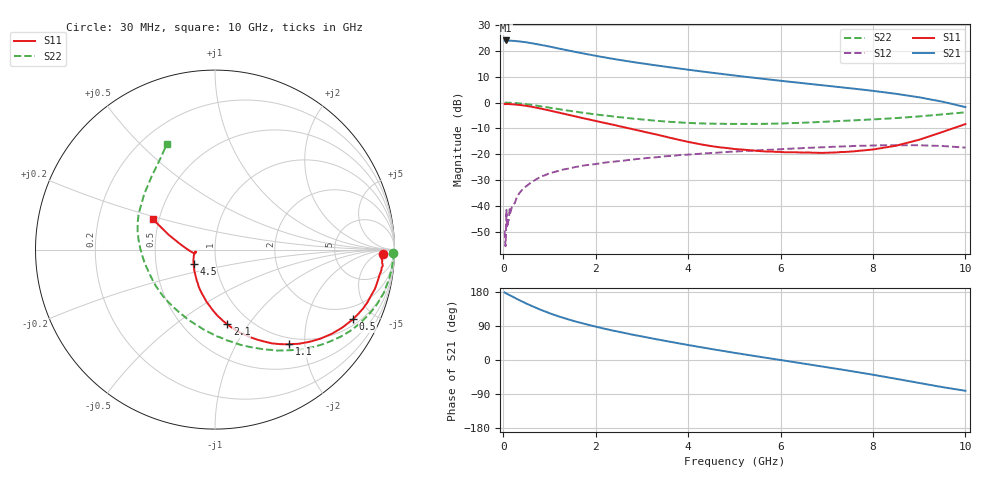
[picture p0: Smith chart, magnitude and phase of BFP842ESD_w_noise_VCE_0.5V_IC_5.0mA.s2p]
! Infineon Technologies  Discrete & RF Semiconductors
! BFP842ESD
! VCE =  0.5 V,  IC =  5.0 mA
! Common Emitter S-Parameters:  May 2012
# GHz  S  MA  R  50
!  f  S11  S21  S12  S22
! GHz  MAG  ANG  MAG  ANG  MAG  ANG  MAG  ANG
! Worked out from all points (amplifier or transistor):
!   99 points, 30 MHz to 10 GHz, reference 50 ohm
!   highest |S21| = 23.9 dB at 60 MHz (marker M1)
!   |S21| within 3 dB of that: start of sweep to 1.173 GHz
!   unconditionally stable (mu >= 1): 3.212 GHz to end of sweep
!   at 350 MHz: K = 0.16, MSG = 29.3 dB, |S12| = -34.9 dB
!   at 3.5 GHz: K = 1.04, MAG = 16.0 dB, |S12| = -20.7 dB
!   at 10 GHz: K = 2.17, MAG = 1.7 dB, |S12| = -17.4 dB
!   lowest NFmin = 0.41 dB at 450 MHz
!   S11 on the Smith chart (normalised r, x): 30 MHz: 26, -11; 500 MHz: 1.27, -3.80; 1.1 GHz: 0.88, -1.70; 2.1 GHz: 0.79, -0.80; 4.5 GHz: 0.78, -0.13; 10 GHz: 0.46, +0.18
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0.03  0.9362 -1.6  15.57 178.2  0.0034 127.4  0.9929 -1.2
0.05  0.9276 -2.7  15.48 176.4  0.0017 114.1  0.9879 -2.4
0.06  0.931 -3.4  15.72 175.9  0.003 68.9  0.9963 -2.7
0.07  0.9343 -3.6  15.57 175.5  0.0085 82.9  0.9959 -3.5
0.08  0.9333 -4.4  15.61 174.6  0.0038 68.9  0.9894 -3.6
0.14  0.9317 -7.9  15.53 171.1  0.0088 88.9  0.9886 -6.7
0.25  0.9174 -13.8  15.41 164.1  0.0115 84.1  0.9768 -11.8
0.4  0.8878 -21.7  14.86 154.8  0.0203 73.2  0.9522 -18.7
0.5  0.861 -26.8  14.5 149.0  0.0244 71.0  0.9286 -23.1
0.6  0.8317 -31.5  13.97 143.5  0.0287 67.8  0.9048 -27.2
0.8  0.7672 -40.4  13 133.0  0.0367 61.8  0.8512 -34.8
1.1  0.6705 -51.9  11.49 119.3  0.0456 54.2  0.7706 -44.8
1.4  0.5822 -61.7  10.12 107.5  0.053 48.3  0.6991 -53.3
1.7  0.5048 -70.4  8.939 97.3  0.0601 44.1  0.6393 -60.9
2.1  0.4208 -80.7  7.668 85.1  0.0672 38.3  0.5746 -70.6
2.7  0.3205 -94.6  6.24 69.4  0.0777 32.5  0.501 -84.2
3.4  0.2318 -112.1  5.067 52.9  0.0896 25.3  0.4376 -101.7
4.5  0.1445 -145.5  3.769 29.1  0.1063 12.9  0.3912 -131.4
5.1  0.1248 -161.7  3.241 17.1  0.1145 6.1  0.3863 -146.2
6.7  0.1077 -172.9  2.251 -13.3  0.1349 -12.8  0.4159 179.5
8.5  0.147 -178.8  1.472 -49.6  0.1505 -40.3  0.501 142.0
10  0.384 154.0  0.817 -81.2  0.1352 -69.7  0.6469 114.4
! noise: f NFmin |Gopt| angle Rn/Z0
0.45  0.41  0.38  3  0.11
0.9  0.43  0.4  8  0.11
1.5  0.46  0.41  19  0.11
1.9  0.48  0.39  29  0.11
2.4  0.52  0.36  42  0.1
3.5  0.63  0.26  79  0.08
4  0.66  0.22  100  0.08
5  0.72  0.2  119  0.07
5.5  0.84  0.18  145  0.07
6  0.97  0.16  155  0.08
